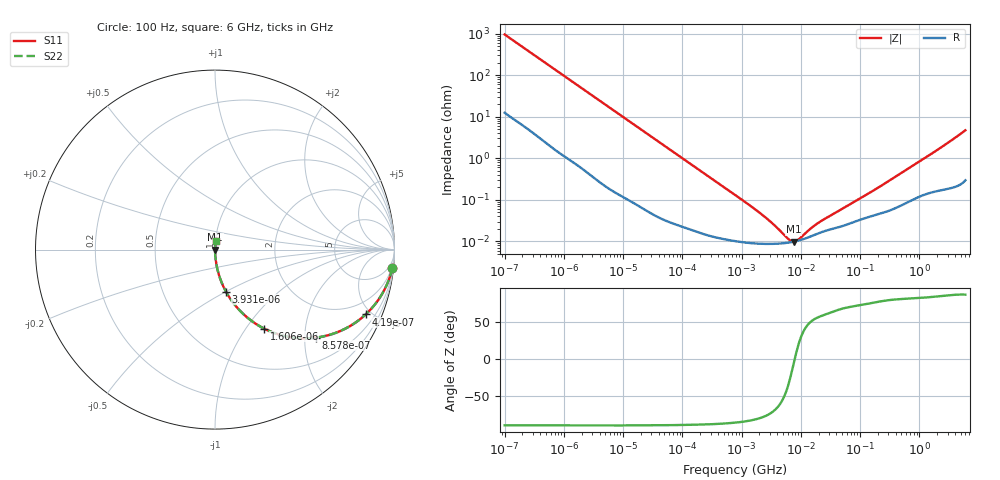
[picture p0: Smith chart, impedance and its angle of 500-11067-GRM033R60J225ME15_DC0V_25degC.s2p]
!Murata Part Number: GRM033R60J225ME15
!These Parameters are Measured in Series Mode Connection
!  o--ll--o
!Port1  Port2
!  o------o
!Operation Temp=25[degC], DC Bias Voltage=0[V]
!Freq. Start=100[Hz] Stop=6[GHz], 401[Steps]
!Data Generated on Nov 6, 2017
# Hz S RI R 50
!Freq.(Hz) S11(Real) S11(Imag) S21(Real) S21(Imag) S12(Real) S12(Imag) S22(Real) S22(Imag)
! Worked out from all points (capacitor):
!   401 points, 100 Hz to 6 GHz, reference 50 ohm
!   read as one part in series: C = 1.66 uF near 109.4 Hz
!   lowest |Z| = 9.85 mohm at 7.6 MHz (marker M1)
!   series resonance near 7.9 MHz, so ESL is about 240 pH
!   S11 on the Smith chart (normalised r, x): 100 Hz: 1, -19; 419 Hz: 1.06, -4.62; 857.8 Hz: 1.03, -2.27; 1.606 kHz: 1.01, -1.22; 3.931 kHz: 1.01, -0.50; 6 GHz: 1.01, +0.09
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100  0.9879 -0.103  0.0121 0.103  0.0121 0.103  0.9879 -0.103
234.1328  0.9417 -0.228  0.0583 0.228  0.0583 0.228  0.9417 -0.228
419.0367  0.8394 -0.3611  0.1606 0.3611  0.1606 0.3611  0.8394 -0.3611
599.5358  0.7218 -0.4423  0.2782 0.4423  0.2782 0.4423  0.7218 -0.4423
857.7844  0.5623 -0.4904  0.4377 0.4904  0.4377 0.4904  0.5623 -0.4904
1173.534  0.4098 -0.486  0.5902 0.486  0.5902 0.486  0.4098 -0.486
1605.512  0.2731 -0.4397  0.7269 0.4397  0.7269 0.4397  0.2731 -0.4397
2008.354  0.1951 -0.3905  0.8049 0.3905  0.8049 0.3905  0.1951 -0.3905
2747.628  0.1161 -0.3147  0.8839 0.3147  0.8839 0.3147  0.1161 -0.3147
3931.163  0.0613 -0.2344  0.9387 0.2344  0.9387 0.2344  0.0613 -0.2344
10527.36  0.00985 -0.093  0.9901 0.093  0.9901 0.093  0.00985 -0.093
40334.87  0.000986 -0.0248  0.999 0.0248  0.999 0.0248  0.000986 -0.0248
774596.7  0.000103 -0.00132  0.9999 0.00132  0.9999 0.00132  0.000103 -0.00132
2594782  8.68e-05 -0.000356  0.9999 0.000356  0.9999 0.000356  8.68e-05 -0.000356
6353432  9.36e-05 -5.65e-05  0.9999 5.65e-05  0.9999 5.65e-05  9.36e-05 -5.65e-05
7599586  9.8e-05 -9.86e-06  0.9999 9.86e-06  0.9999 9.86e-06  9.8e-05 -9.86e-06
9090158  0.000104 3.54e-05  0.9999 -3.54e-05  0.9999 -3.54e-05  0.000104 3.54e-05
1.555665e7  0.000136 0.00017  0.9999 -0.00017  0.9999 -0.00017  0.000136 0.00017
2.327686e7  0.00017 0.000276  0.9998 -0.000276  0.9998 -0.000276  0.00017 0.000276
3.124326e8  0.000557 0.00285  0.9994 -0.00285  0.9994 -0.00285  0.000557 0.00285
1.791126e9  0.00176 0.0141  0.9982 -0.0141  0.9982 -0.0141  0.00176 0.0141
6e9  0.00514 0.0467  0.9949 -0.0467  0.9949 -0.0467  0.00514 0.0467
